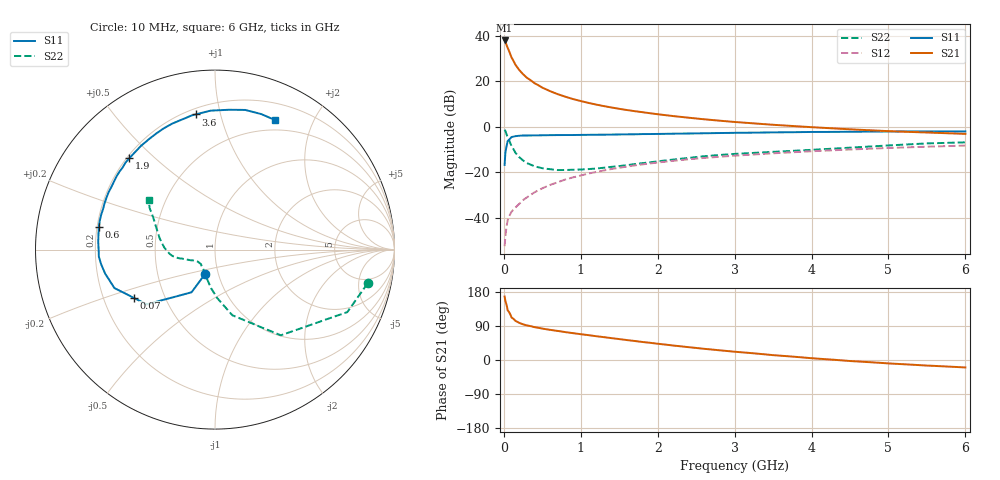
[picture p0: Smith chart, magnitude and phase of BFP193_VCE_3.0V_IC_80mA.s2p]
! Infineon Technologies  Discrete & RF Semiconductors
! BFP193
! VCE =  3.0 V,  IC =  80 mA
! Common Emitter S-Parameters:  Jan 2017
# GHz  S  MA  R  50
!  f  S11  S21  S12  S22
! GHz  MAG  ANG  MAG  ANG  MAG  ANG  MAG  ANG
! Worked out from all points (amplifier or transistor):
!   77 points, 10 MHz to 6 GHz, reference 50 ohm
!   highest |S21| = 38.0 dB at 10 MHz (marker M1)
!   |S21| within 3 dB of that: start of sweep to 46.73 MHz
!   unconditionally stable (mu >= 1): 328.5 MHz to 2.511 GHz
!   at 130 MHz: K = 0.76, MSG = 32.4 dB, |S12| = -36.1 dB
!   at 2.2 GHz: K = 1.01, MAG = 9.1 dB, |S12| = -14.9 dB
!   at 6 GHz: K = 0.94, MSG = 2.6 dB, |S12| = -8.2 dB
!   S11 on the Smith chart (normalised r, x): 10 MHz: 0.87, -0.24; 70 MHz: 0.33, -0.25; 600 MHz: 0.21, +0.09; 1.9 GHz: 0.21, +0.42; 3.6 GHz: 0.23, +0.84; 6 GHz: 0.38, +1.49
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0.01  0.1459 -112.0  79.28 167.4  0.0024 82.6  0.8706 -12.5
0.02  0.2713 -118.8  75.08 155.9  0.0039 83.2  0.8153 -25.3
0.05  0.4882 -141.3  54.38 131.1  0.009 60.5  0.6018 -52.5
0.07  0.5266 -149.3  45.48 125.6  0.0109 61.4  0.5041 -59.2
0.1  0.6 -159.1  33.42 112.1  0.0137 62.2  0.3784 -75.2
0.15  0.6266 -167.7  23.33 103.4  0.0169 62.5  0.2721 -87.1
0.2  0.6395 -172.6  17.81 98.0  0.0204 67.0  0.2167 -95.7
0.25  0.6482 -176.5  14.37 94.1  0.0247 67.6  0.1832 -101.8
0.3  0.648 -179.2  12.02 91.3  0.0283 69.4  0.1606 -107.7
0.4  0.6521 176.2  9.107 86.6  0.0366 71.3  0.136 -116.2
0.5  0.6549 172.4  7.296 82.9  0.0448 71.2  0.1237 -123.1
0.6  0.6593 169.0  6.111 79.6  0.0531 71.1  0.1177 -129.4
0.8  0.6633 163.0  4.601 73.6  0.07 70.9  0.1132 -137.2
1.1  0.6702 154.4  3.371 65.6  0.0946 67.8  0.1184 -145.9
1.5  0.6831 143.7  2.496 55.2  0.1265 63.1  0.138 -154.3
1.9  0.6976 133.1  1.998 45.4  0.1575 57.6  0.1668 -160.6
2.1  0.7045 128.1  1.813 40.7  0.1723 55.1  0.1832 -163.5
3.1  0.7434 106.9  1.248 20.2  0.239 41.8  0.2607 -176.7
3.6  0.7609 98.1  1.087 11.3  0.2686 35.8  0.289 175.6
4.1  0.7752 90.3  0.966 3.3  0.297 29.7  0.3204 166.7
5.1  0.7956 76.5  0.796 -10.1  0.3491 17.8  0.3998 151.0
6  0.7957 65.3  0.703 -19.7  0.3892 7.4  0.4583 143.2
